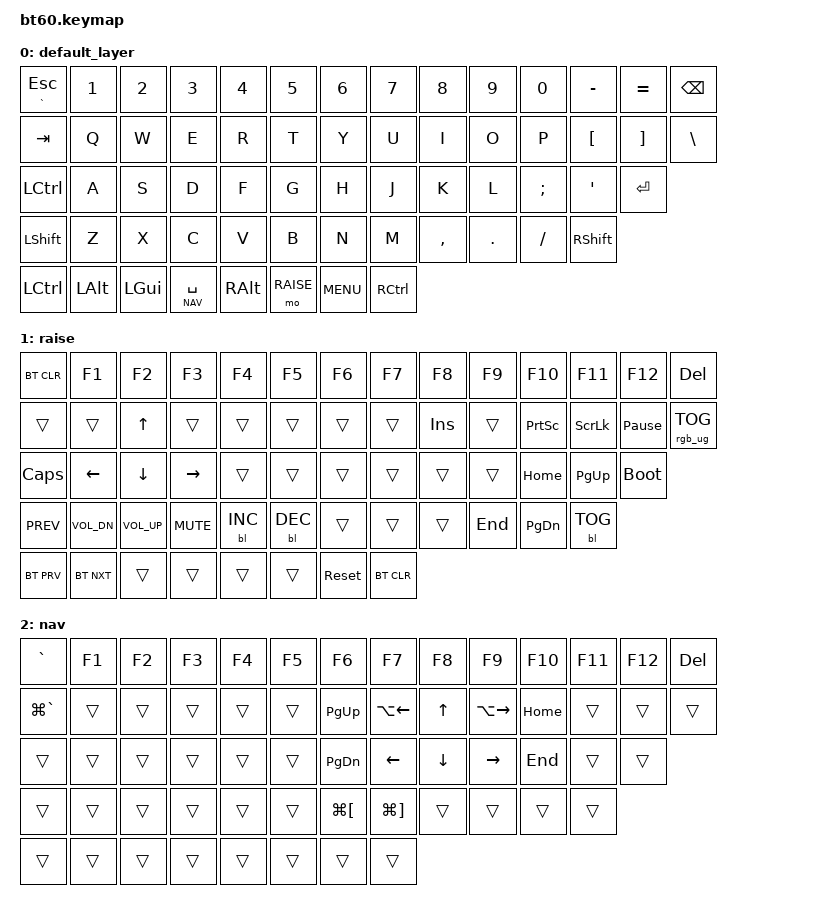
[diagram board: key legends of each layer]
/*
 * BT60 (CKP, nRF52840) ZMK keymap.
 *
 * Reconstructed 2026-10-10 from the firmware on the board (dumps/2026-10-10_CURRENT.UF2).
 * Bindings are decoded from the compiled keymap table, so this matches the board exactly;
 * layer names and comments come from archive/2025-05-28_bt60.keymap.
 * The board build includes an encoder binding (volume); it is left out because there is no knob.
 */

#include <behaviors.dtsi>
#include <dt-bindings/zmk/keys.h>
#include <dt-bindings/zmk/bt.h>
#include <dt-bindings/zmk/rgb.h>
#include <dt-bindings/zmk/backlight.h>

#define BASE  0
#define RAISE 1
#define NAV   2

/ {
    keymap {
        compatible = "zmk,keymap";

        // Base (QWERTY). Esc on tap, ` on hold. Hold Space for NAV, Fn for RAISE.
        default_layer {
            bindings = <
                &mt GRAVE ESC &kp N1   &kp N2   &kp N3        &kp N4   &kp N5    &kp N6     &kp N7    &kp N8    &kp N9  &kp N0   &kp MINUS &kp EQUAL &kp BSPC
                &kp TAB       &kp Q    &kp W    &kp E         &kp R    &kp T     &kp Y      &kp U     &kp I     &kp O   &kp P    &kp LBKT  &kp RBKT  &kp BSLH
                &kp LCTRL     &kp A    &kp S    &kp D         &kp F    &kp G     &kp H      &kp J     &kp K     &kp L   &kp SEMI &kp SQT   &kp RET
                &kp LSHFT     &kp Z    &kp X    &kp C         &kp V    &kp B     &kp N      &kp M     &kp COMMA &kp DOT &kp FSLH &kp RSHFT
                &kp LCTRL     &kp LALT &kp LGUI &lt NAV SPACE &kp RALT &mo RAISE &kp C_MENU &kp RCTRL
            >;
        };

        // RAISE (hold Fn): F-keys, Bluetooth, media, backlight/RGB, Fn+Enter = bootloader.
        raise {
            bindings = <
                &bt BT_CLR &kp F1       &kp F2       &kp F3     &kp F4     &kp F5     &kp F6     &kp F7     &kp F8  &kp F9  &kp F10   &kp F11    &kp F12         &kp DEL
                &trans     &trans       &kp UP       &trans     &trans     &trans     &trans     &trans     &kp INS &trans  &kp PSCRN &kp SLCK   &kp PAUSE_BREAK &rgb_ug RGB_TOG
                &kp CAPS   &kp LEFT     &kp DOWN     &kp RIGHT  &trans     &trans     &trans     &trans     &trans  &trans  &kp HOME  &kp PG_UP  &bootloader
                &kp C_PREV &kp C_VOL_DN &kp C_VOL_UP &kp C_MUTE &bl BL_INC &bl BL_DEC &trans     &trans     &trans  &kp END &kp PG_DN &bl BL_TOG
                &bt BT_PRV &bt BT_NXT   &trans       &trans     &trans     &trans     &sys_reset &bt BT_CLR
            >;
        };

        // NAV (hold Space): arrows on JKL/IK, word jump on U/O, Cmd+` and Cmd+[ / Cmd+].
        nav {
            bindings = <
                &kp GRAVE     &kp F1 &kp F2 &kp F3 &kp F4 &kp F5 &kp F6       &kp F7       &kp F8   &kp F9        &kp F10  &kp F11 &kp F12 &kp DEL
                &kp LG(GRAVE) &trans &trans &trans &trans &trans &kp PG_UP    &kp LA(LEFT) &kp UP   &kp LA(RIGHT) &kp HOME &trans  &trans  &trans
                &trans        &trans &trans &trans &trans &trans &kp PG_DN    &kp LEFT     &kp DOWN &kp RIGHT     &kp END  &trans  &trans
                &trans        &trans &trans &trans &trans &trans &kp LG(LBKT) &kp LG(RBKT) &trans   &trans        &trans   &trans
                &trans        &trans &trans &trans &trans &trans &trans       &trans
            >;
        };
    };
};
